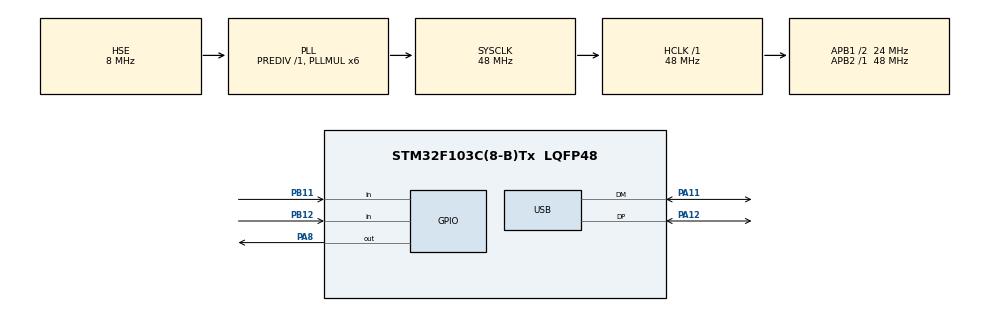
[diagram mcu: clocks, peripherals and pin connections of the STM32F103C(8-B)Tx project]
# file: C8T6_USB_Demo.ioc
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Mcu.Family=STM32F1
Mcu.Name=STM32F103C(8-B)Tx
Mcu.Package=LQFP48
NVIC.PriorityGroup=NVIC_PRIORITYGROUP_4
NVIC.USB_LP_CAN1_RX0_IRQn=true\:0\:0\:false\:false\:true\:false\:true\:true
PA11.Mode=Device
PA11.Signal=USB_DM
PA12.Mode=Device
PA12.Signal=USB_DP
PA13.Mode=Serial_Wire
PA13.Signal=SYS_JTMS-SWDIO
PA14.Mode=Serial_Wire
PA14.Signal=SYS_JTCK-SWCLK
PA8.GPIO_PuPd=GPIO_PULLUP
PA8.Signal=GPIO_Output
PB11.GPIO_PuPd=GPIO_PULLUP
PB11.Signal=GPIO_Input
PB12.GPIO_PuPd=GPIO_PULLUP
PB12.Signal=GPIO_Input
PD0-OSC_IN.Mode=HSE-External-Oscillator
PD0-OSC_IN.Signal=RCC_OSC_IN
PD1-OSC_OUT.Mode=HSE-External-Oscillator
PD1-OSC_OUT.Signal=RCC_OSC_OUT
ProjectManager.HeapSize=0x200
ProjectManager.StackSize=0x400
ProjectManager.TargetToolchain=STM32CubeIDE
RCC.AHBFreq_Value=48000000
RCC.APB1CLKDivider=RCC_HCLK_DIV2
RCC.APB1Freq_Value=24000000
RCC.APB1TimFreq_Value=48000000
RCC.APB2Freq_Value=48000000
RCC.APB2TimFreq_Value=48000000
RCC.HCLKFreq_Value=48000000
RCC.PLLMUL=RCC_PLL_MUL6
RCC.PLLSourceVirtual=RCC_PLLSOURCE_HSE
RCC.SYSCLKFreq_VALUE=48000000
RCC.SYSCLKSource=RCC_SYSCLKSOURCE_PLLCLK
RCC.USBFreq_Value=48000000
USB_DEVICE.CLASS_NAME_FS=HID
USB_DEVICE.MANUFACTURER_STRING=HID_KeyBoard
USB_DEVICE.VID=1155
USB_DEVICE.VirtualMode=Hid
USB_DEVICE.VirtualModeFS=Hid_FS
VP_USB_DEVICE_VS_USB_DEVICE_HID_FS.Mode=HID_FS
board=custom

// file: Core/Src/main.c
/* USER CODE BEGIN Header */
/**
  ******************************************************************************
  * @file           : main.c
  * @brief          : Main program body
  ******************************************************************************
  * @attention
  *
  * Copyright (c) 2024 STMicroelectronics.
  * All rights reserved.
  *
  * This software is licensed under terms that can be found in the LICENSE file
  * in the root directory of this software component.
  * If no LICENSE file comes with this software, it is provided AS-IS.
  *
  ******************************************************************************
  */
/* USER CODE END Header */
#include "main.h"
#include "usb_device.h"
#include "gpio.h"

void SystemClock_Config(void);

int main(void)
{

  /* MCU Configuration--------------------------------------------------------*/

  /* Reset of all peripherals, Initializes the Flash interface and the Systick. */
  HAL_Init();

  /* Configure the system clock */
  SystemClock_Config();

  /* Initialize all configured peripherals */
  MX_GPIO_Init();
  MX_USB_DEVICE_Init();
  /* USER CODE BEGIN 2 */
    uint8_t KeyBoard_buff[9] = {0, 0, 0, 0, 0, 0, 0, 0, 0};
    uint8_t VolCtrl[3] = {0, 0, 0};
  /* USER CODE END 2 */

  /* Infinite loop */
  /* USER CODE BEGIN WHILE */
    while (1) {
        extern uint8_t USBD_HID_SendReport(USBD_HandleTypeDef *pdev,
                                           uint8_t *report,
                                           uint16_t len);
        extern USBD_HandleTypeDef hUsbDeviceFS;

        KeyBoard_buff[0] = 1;
        VolCtrl[0] = 2;

//        if (HAL_GPIO_ReadPin(GPIOB, GPIO_PIN_11) == 0) {
//            KeyBoard_buff[3] = 0x1A;
//            USBD_HID_SendReport(&hUsbDeviceFS, (uint8_t *) &KeyBoard_buff, sizeof(KeyBoard_buff));
//            HAL_GPIO_WritePin(GPIOA, GPIO_PIN_8, GPIO_PIN_SET);
//        }
//        else {
//            KeyBoard_buff[3] = 0;
//            USBD_HID_SendReport(&hUsbDeviceFS, (uint8_t *) &KeyBoard_buff, sizeof(KeyBoard_buff));
//            HAL_GPIO_WritePin(GPIOA, GPIO_PIN_8, GPIO_PIN_RESET);
//        }

        if (HAL_GPIO_ReadPin(GPIOB, GPIO_PIN_11) == 0) {
            VolCtrl[1] = 0xEA;
            USBD_HID_SendReport(&hUsbDeviceFS, (uint8_t *) &VolCtrl, sizeof(VolCtrl));
            VolCtrl[1] = 0;
        }
        else if (HAL_GPIO_ReadPin(GPIOB, GPIO_PIN_12) == 0){
            VolCtrl[1] = 0xE9;
            USBD_HID_SendReport(&hUsbDeviceFS, (uint8_t *) &VolCtrl, sizeof(VolCtrl));
            VolCtrl[1] = 0;
        }else{
            VolCtrl[1] = 0;
            USBD_HID_SendReport(&hUsbDeviceFS, (uint8_t *) &VolCtrl, sizeof(VolCtrl));
        }

        HAL_Delay(30);

    /* USER CODE END WHILE */

    }
}

void SystemClock_Config(void)
{
  RCC_OscInitTypeDef RCC_OscInitStruct = {0};
  RCC_ClkInitTypeDef RCC_ClkInitStruct = {0};
  RCC_PeriphCLKInitTypeDef PeriphClkInit = {0};

  /** Initializes the RCC Oscillators according to the specified parameters
  * in the RCC_OscInitTypeDef structure.
  */
  RCC_OscInitStruct.OscillatorType = RCC_OSCILLATORTYPE_HSE;
  RCC_OscInitStruct.HSEState = RCC_HSE_ON;
  RCC_OscInitStruct.HSEPredivValue = RCC_HSE_PREDIV_DIV1;
  RCC_OscInitStruct.HSIState = RCC_HSI_ON;
  RCC_OscInitStruct.PLL.PLLState = RCC_PLL_ON;
  RCC_OscInitStruct.PLL.PLLSource = RCC_PLLSOURCE_HSE;
  RCC_OscInitStruct.PLL.PLLMUL = RCC_PLL_MUL6;
  if (HAL_RCC_OscConfig(&RCC_OscInitStruct) != HAL_OK)
  {
    Error_Handler();
  }

  /** Initializes the CPU, AHB and APB buses clocks
  */
  RCC_ClkInitStruct.ClockType = RCC_CLOCKTYPE_HCLK|RCC_CLOCKTYPE_SYSCLK
                              |RCC_CLOCKTYPE_PCLK1|RCC_CLOCKTYPE_PCLK2;
  RCC_ClkInitStruct.SYSCLKSource = RCC_SYSCLKSOURCE_PLLCLK;
  RCC_ClkInitStruct.AHBCLKDivider = RCC_SYSCLK_DIV1;
  RCC_ClkInitStruct.APB1CLKDivider = RCC_HCLK_DIV2;
  RCC_ClkInitStruct.APB2CLKDivider = RCC_HCLK_DIV1;

  if (HAL_RCC_ClockConfig(&RCC_ClkInitStruct, FLASH_LATENCY_1) != HAL_OK)
  {
    Error_Handler();
  }
  PeriphClkInit.PeriphClockSelection = RCC_PERIPHCLK_USB;
  PeriphClkInit.UsbClockSelection = RCC_USBCLKSOURCE_PLL;
  if (HAL_RCCEx_PeriphCLKConfig(&PeriphClkInit) != HAL_OK)
  {
    Error_Handler();
  }
}

void Error_Handler(void)
{
    __disable_irq();
    while (1) {
    }
}
